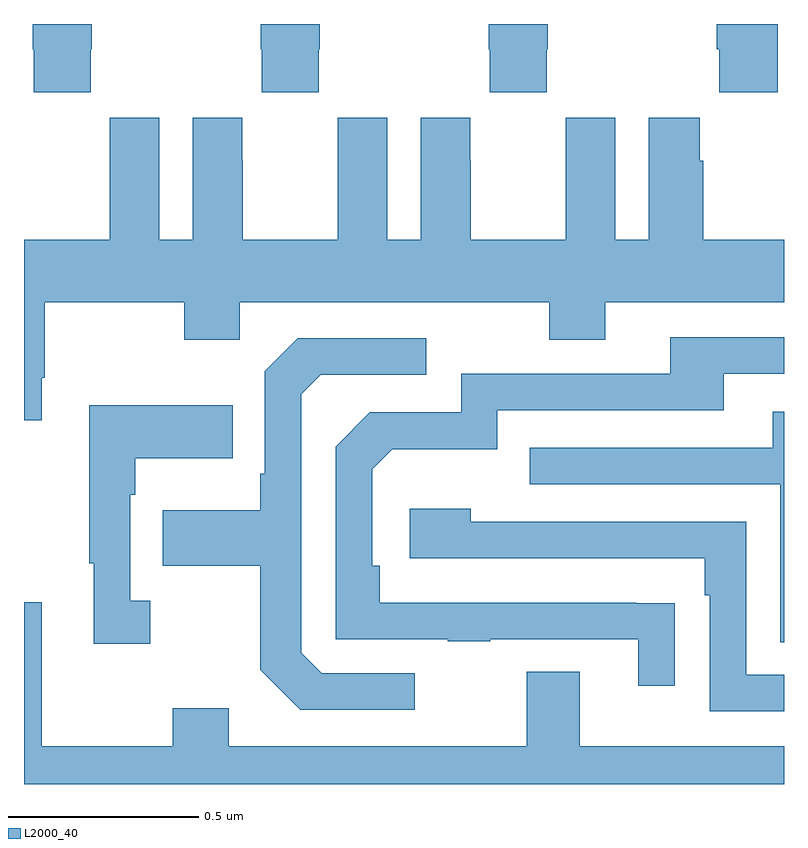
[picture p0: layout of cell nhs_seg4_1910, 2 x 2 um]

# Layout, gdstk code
import gdstk
lib = gdstk.Library(unit=1e-6, precision=1e-09)
def P(c, l, *ps):  # polygons
    for p in ps: c.add(gdstk.Polygon(p, *l))
L2000_40 = (2000, 40)

nhs_seg4_1910 = lib.new_cell('nhs_seg4_1910')
P(nhs_seg4_1910, L2000_40, [(135.983,782.9),(135.823,782.9),(135.823,782.833),(135.829,782.833),(135.829,782.721),(135.983,782.721)],
  [(134.175,782.833),(134.178,782.833),(134.178,782.9),(134.023,782.9),(134.023,782.833),(134.025,782.833),(134.025,782.721),(134.175,782.721)],
  [(134.775,782.833),(134.778,782.833),(134.778,782.9),(134.623,782.9),(134.623,782.833),(134.625,782.833),(134.625,782.721),(134.775,782.721)],
  [(135.375,782.833),(135.378,782.833),(135.378,782.9),(135.223,782.9),(135.223,782.833),(135.225,782.833),(135.225,782.721),(135.375,782.721)],
  [(134.047,781.969),(134.055,781.969),(134.055,782.168),(134.422,782.168),(134.422,782.069),(134.568,782.069),(134.568,782.168),(135.382,782.168),(135.382,782.069),(135.529,782.069),(135.529,782.168),(136,782.168),(136,782.332),(135.788,782.332),(135.788,782.54),(135.778,782.54),(135.778,782.653),(135.644,782.653),(135.644,782.332),(135.556,782.332),(135.556,782.653),(135.426,782.653),(135.426,782.54),(135.425,782.54),(135.425,782.332),(135.175,782.332),(135.175,782.54),(135.174,782.54),(135.174,782.653),(135.044,782.653),(135.044,782.332),(134.956,782.332),(134.956,782.653),(134.826,782.653),(134.826,782.54),(134.825,782.54),(134.825,782.332),(134.575,782.332),(134.575,782.54),(134.574,782.54),(134.574,782.653),(134.444,782.653),(134.444,782.332),(134.356,782.332),(134.356,782.653),(134.226,782.653),(134.226,782.54),(134.225,782.54),(134.225,782.332),(134,782.332),(134,781.857),(134.047,781.857)],
  [(135.713,781.376),(135.611,781.376),(135.611,781.377),(134.936,781.377),(134.936,781.474),(134.916,781.474),(134.916,781.728),(134.969,781.781),(135.246,781.781),(135.246,781.884),(135.841,781.884),(135.841,781.98),(136,781.98),(136,782.076),(135.701,782.076),(135.701,781.98),(135.15,781.98),(135.15,781.878),(134.91,781.878),(134.82,781.788),(134.82,781.281),(135.115,781.281),(135.115,781.276),(135.227,781.276),(135.227,781.281),(135.617,781.281),(135.617,781.158),(135.713,781.158)],
  [(135.028,781.191),(134.784,781.191),(134.73,781.245),(134.73,781.926),(134.781,781.977),(135.058,781.977),(135.058,782.073),(134.721,782.073),(134.634,781.986),(134.634,781.717),(134.622,781.717),(134.622,781.621),(134.365,781.621),(134.365,781.474),(134.622,781.474),(134.622,781.201),(134.727,781.095),(135.028,781.095)],
  [(134.332,781.382),(134.28,781.382),(134.28,781.661),(134.293,781.661),(134.293,781.757),(134.549,781.757),(134.549,781.897),(134.172,781.897),(134.172,781.481),(134.183,781.481),(134.183,781.269),(134.332,781.269)],
  [(136,781.879),(135.971,781.879),(135.971,781.785),(135.331,781.785),(135.331,781.689),(135.99,781.689),(135.99,781.273),(136,781.273)],
  [(136,781.188),(135.9,781.188),(135.9,781.59),(135.176,781.59),(135.176,781.624),(135.015,781.624),(135.015,781.494),(135.791,781.494),(135.791,781.397),(135.804,781.397),(135.804,781.092),(136,781.092)],
  [(136,781),(135.463,781),(135.463,781.195),(135.323,781.195),(135.323,781),(134.539,781),(134.539,781.099),(134.392,781.099),(134.392,781),(134.047,781),(134.047,781.378),(134,781.378),(134,780.9),(136,780.9)])

lib.write_gds('nhs_seg4_1910.gds')
